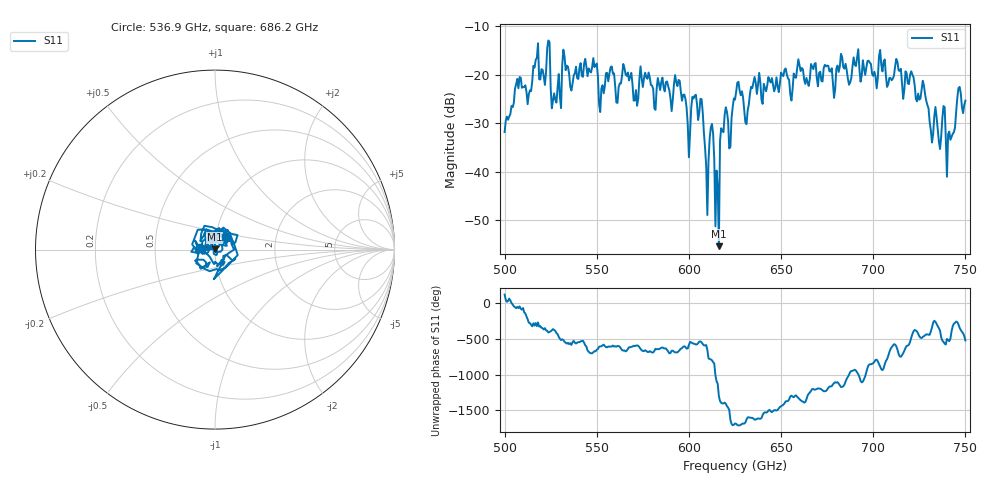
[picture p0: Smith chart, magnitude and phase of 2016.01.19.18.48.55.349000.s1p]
!Created with skrf (http://scikit-rf.org).
# GHz S RI R 50.0
!freq ReS11 ImS11
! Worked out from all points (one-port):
!   401 points, 500 GHz to 750 GHz, reference 50 ohm
!   lowest |S11| = -55.3 dB at 616.2 GHz (marker M1), VSWR 1.00, Z = 49.9 + j0.113 ohm
!   |S11| at or under -10 dB: start of sweep to end of sweep
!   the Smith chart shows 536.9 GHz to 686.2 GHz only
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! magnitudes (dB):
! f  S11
! 500 GHz  -31.8
! 507.5 GHz  -22.7
! 513.8 GHz  -23.2
! 516.9 GHz  -16.9
! 523.8 GHz  -12.9
! 526.9 GHz  -23.8
! 531.2 GHz  -18.0
! 562.5 GHz  -21.7
! 593.8 GHz  -22.3
! 600 GHz  -37.0
! 602.5 GHz  -24.9
! 606.9 GHz  -25.0
! 609.4 GHz  -38.8
! 612.5 GHz  -30.1
! 615 GHz  -39.7
! 616.2 GHz  -55.3
! 618.8 GHz  -31.8
! 622.5 GHz  -34.8
! 625 GHz  -25.1
! 631.2 GHz  -30.2
! 635 GHz  -21.6
! 656.2 GHz  -22.9
! 660 GHz  -18.0
! 687.5 GHz  -21.5
! 718.8 GHz  -21.7
! 740.6 GHz  -32.2
! 746.2 GHz  -22.7
! 750 GHz  -25.3
